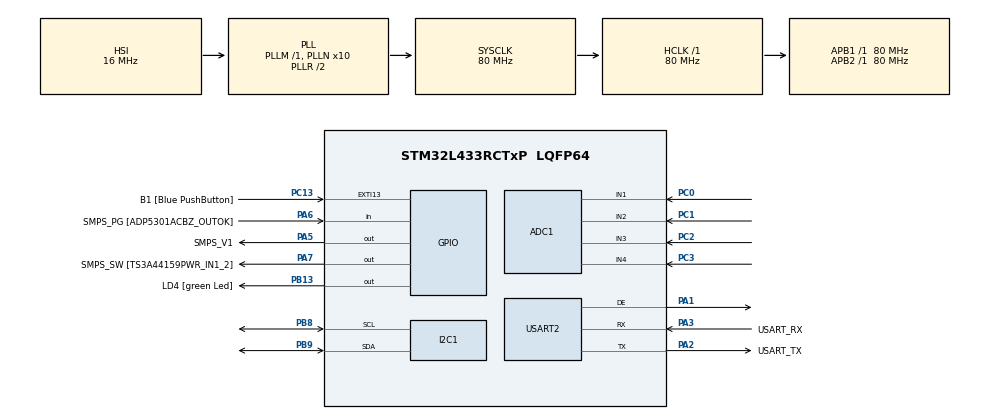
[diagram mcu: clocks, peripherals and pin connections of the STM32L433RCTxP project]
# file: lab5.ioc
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ADC1.Channel-4\#ChannelRegularConversion=ADC_CHANNEL_1
ADC1.Channel-7\#ChannelRegularConversion=ADC_CHANNEL_2
ADC1.Channel-8\#ChannelRegularConversion=ADC_CHANNEL_3
ADC1.Channel-9\#ChannelRegularConversion=ADC_CHANNEL_4
ADC1.ClockPrescaler=ADC_CLOCK_ASYNC_DIV4
ADC1.ContinuousConvMode=ENABLE
ADC1.EOCSelection=ADC_EOC_SINGLE_CONV
ADC1.ExternalTrigConv=ADC_SOFTWARE_START
ADC1.NbrOfConversion=4
ADC1.NbrOfConversionFlag=1
ADC1.OffsetNumber-4\#ChannelRegularConversion=ADC_OFFSET_NONE
ADC1.OffsetNumber-7\#ChannelRegularConversion=ADC_OFFSET_NONE
ADC1.OffsetNumber-8\#ChannelRegularConversion=ADC_OFFSET_NONE
ADC1.OffsetNumber-9\#ChannelRegularConversion=ADC_OFFSET_NONE
ADC1.Rank-4\#ChannelRegularConversion=1
ADC1.Rank-7\#ChannelRegularConversion=2
ADC1.Rank-8\#ChannelRegularConversion=3
ADC1.Rank-9\#ChannelRegularConversion=4
ADC1.SamplingTime-4\#ChannelRegularConversion=ADC_SAMPLETIME_640CYCLES_5
ADC1.SamplingTime-7\#ChannelRegularConversion=ADC_SAMPLETIME_640CYCLES_5
ADC1.SamplingTime-8\#ChannelRegularConversion=ADC_SAMPLETIME_640CYCLES_5
ADC1.SamplingTime-9\#ChannelRegularConversion=ADC_SAMPLETIME_640CYCLES_5
ADC1.master=1
I2C1.Timing=0x10D19CE4
Mcu.Family=STM32L4
Mcu.Name=STM32L433RCTxP
Mcu.Package=LQFP64
NVIC.ADC1_IRQn=true\:0\:0\:false\:false\:true\:true\:true\:true
NVIC.PriorityGroup=NVIC_PRIORITYGROUP_4
PA0.Signal=USART2_CTS
PA1.Mode=Hardware Flow Control (RS485)
PA1.Signal=USART2_DE
PA13\ (JTMS-SWDIO).GPIO_Label=TMS
PA13\ (JTMS-SWDIO).Mode=Serial_Wire
PA13\ (JTMS-SWDIO).Signal=SYS_JTMS-SWDIO
PA14\ (JTCK-SWCLK).GPIO_Label=TCK
PA14\ (JTCK-SWCLK).Mode=Serial_Wire
PA14\ (JTCK-SWCLK).Signal=SYS_JTCK-SWCLK
PA2.GPIO_Label=USART_TX
PA2.GPIO_Mode=GPIO_MODE_AF_PP
PA2.GPIO_PuPd=GPIO_NOPULL
PA2.GPIO_Speed=GPIO_SPEED_FREQ_VERY_HIGH
PA2.Mode=Asynchronous
PA2.Signal=USART2_TX
PA3.GPIO_Label=USART_RX
PA3.GPIO_Mode=GPIO_MODE_AF_PP
PA3.GPIO_PuPd=GPIO_NOPULL
PA3.GPIO_Speed=GPIO_SPEED_FREQ_VERY_HIGH
PA3.Mode=Asynchronous
PA3.Signal=USART2_RX
PA4.Signal=USART2_CK
PA5.GPIO_Label=SMPS_V1
PA5.GPIO_ModeDefaultOutputPP=GPIO_MODE_OUTPUT_PP
PA5.GPIO_PuPd=GPIO_NOPULL
PA5.GPIO_Speed=GPIO_SPEED_FREQ_LOW
PA5.Signal=GPIO_Output
PA6.GPIO_Label=SMPS_PG [ADP5301ACBZ_OUTOK]
PA6.GPIO_PuPd=GPIO_PULLUP
PA6.Signal=GPIO_Input
PA7.GPIO_Label=SMPS_SW [TS3A44159PWR_IN1_2]
PA7.Signal=GPIO_Output
PB13.GPIO_Label=LD4 [green Led]
PB13.Signal=GPIO_Output
PB3\ (JTDO-TRACESWO).GPIO_Label=SWO
PB3\ (JTDO-TRACESWO).Signal=SYS_JTDO-SWO
PB8.Mode=I2C
PB8.Signal=I2C1_SCL
PB9.Mode=I2C
PB9.Signal=I2C1_SDA
PC0.Signal=SharedAnalog_PC0
PC1.Signal=SharedAnalog_PC1
PC13.GPIO_Label=B1 [Blue PushButton]
PC13.GPIO_ModeDefaultEXTI=GPIO_MODE_IT_FALLING
PC13.GPIO_PuPd=GPIO_NOPULL
PC13.Signal=GPXTI13
PC14-OSC32_IN\ (PC14).Mode=LSE-External-Oscillator
PC14-OSC32_IN\ (PC14).Signal=RCC_OSC32_IN
PC15-OSC32_OUT\ (PC15).Mode=LSE-External-Oscillator
PC15-OSC32_OUT\ (PC15).Signal=RCC_OSC32_OUT
PC2.Signal=SharedAnalog_PC2
PC3.Signal=SharedAnalog_PC3
PH0-OSC_IN\ (PH0).GPIO_Label=MCO
PH0-OSC_IN\ (PH0).Mode=HSE-External-Clock-Source
PH0-OSC_IN\ (PH0).Signal=RCC_OSC_IN
PH1-OSC_OUT\ (PH1).Signal=RCC_OSC_OUT
ProjectManager.HeapSize=0x200
ProjectManager.StackSize=0x400
ProjectManager.TargetToolchain=STM32CubeIDE
RCC.ADCFreq_Value=64000000
RCC.AHBFreq_Value=80000000
RCC.APB1Freq_Value=80000000
RCC.APB1TimFreq_Value=80000000
RCC.APB2Freq_Value=80000000
RCC.APB2TimFreq_Value=80000000
RCC.CortexFreq_Value=80000000
RCC.HCLKFreq_Value=80000000
RCC.HSE_VALUE=8000000
RCC.HSI48_VALUE=48000000
RCC.HSI_VALUE=16000000
RCC.MSI_VALUE=4000000
RCC.PLLN=10
RCC.PLLSourceVirtual=RCC_PLLSOURCE_HSI
RCC.PREFETCH_ENABLE=1
RCC.SYSCLKFreq_VALUE=80000000
RCC.SYSCLKSource=RCC_SYSCLKSOURCE_PLLCLK
RCC.USBFreq_Value=64000000
RCC.VCOOutputFreq_Value=160000000
SH.SharedAnalog_PC0.0=GPIO_Analog
SH.SharedAnalog_PC0.1=ADC1_IN1,IN1-Single-Ended
SH.SharedAnalog_PC1.0=GPIO_Analog
SH.SharedAnalog_PC1.1=ADC1_IN2,IN2-Single-Ended
SH.SharedAnalog_PC2.0=GPIO_Analog
SH.SharedAnalog_PC2.1=ADC1_IN3,IN3-Single-Ended
SH.SharedAnalog_PC3.0=GPIO_Analog
SH.SharedAnalog_PC3.1=ADC1_IN4,IN4-Single-Ended
TIM2.Prescaler=79
USART2.VirtualMode-Asynchronous=VM_ASYNC
USART2.VirtualMode-Hardware\ Flow\ Control\ (RS485)=VM_ASYNC
VP_TIM2_VS_ClockSourceINT.Mode=Internal
board=NUCLEO-L433RC-P

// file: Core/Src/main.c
/* USER CODE BEGIN Header */
/**
  ******************************************************************************
  * @file           : main.c
  * @brief          : Main program body
  ******************************************************************************
  * @attention
  *
  * Copyright (c) 2025 STMicroelectronics.
  * All rights reserved.
  *
  * This software is licensed under terms that can be found in the LICENSE file
  * in the root directory of this software component.
  * If no LICENSE file comes with this software, it is provided AS-IS.
  *
  ******************************************************************************
  */
/* USER CODE END Header */
#include "main.h"

/* USER CODE BEGIN Includes */
#include "lcd.h"
#include <string.h>
#include <stdio.h>
#include <stdlib.h>
/* USER CODE END Includes */

/* USER CODE BEGIN PTD */
#define JOY_X_IX 0
#define JOY_Y_IX 1
#define LM35_IX 2
/* USER CODE END PTD */

ADC_HandleTypeDef hadc1;

I2C_HandleTypeDef hi2c1;

TIM_HandleTypeDef htim2;

UART_HandleTypeDef huart2;

void SystemClock_Config(void);
static void MX_GPIO_Init(void);
static void MX_USART2_UART_Init(void);
static void MX_ADC1_Init(void);
static void MX_I2C1_Init(void);
static void MX_TIM2_Init(void);

/* USER CODE BEGIN 0 */

#define ADC_BUF_SIZE 4
uint16_t adc_buffert[ADC_BUF_SIZE];
int adc_buf_ix = 0;
int adc_ready = 0;

void uart_print(const char* str){
  HAL_UART_Transmit(&huart2, (uint8_t *) str, strlen(str), 255);
}
#if 1
void HAL_ADC_ConvCpltCallback(ADC_HandleTypeDef *hadc)
{
#if 1
    if (hadc->Instance == ADC1 && hadc1.Instance->ISR & ADC_FLAG_RDY)
    {

        uint32_t value = HAL_ADC_GetValue(hadc);
#if 1
        adc_buffert[adc_buf_ix] = value;
    	adc_buf_ix++;

        if (adc_buf_ix >= ADC_BUF_SIZE){
        	adc_ready = 1;
        	adc_buf_ix = 0;
        }
#endif

    }
#endif
}

#endif

float normalize_12bit(uint16_t x);
float normalize_12bit_posneg(uint16_t x);

float normalize_12bit_posneg(uint16_t x){
  float input = x;
  return (2*(input))/(4095.0f)-1;
}

float normalize_12bit(uint16_t x){
  float input = x;
  return input/4095.0f;
}

uint16_t read_one_adc_value(ADC_HandleTypeDef *hadc){
	HAL_ADC_Start(hadc);
	HAL_ADC_PollForConversion(hadc,100);
	uint32_t reading = HAL_ADC_GetValue(hadc);
	return (uint16_t) reading;
}

/* USER CODE END 0 */

int main(void)
{

  /* MCU Configuration--------------------------------------------------------*/

  /* Reset of all peripherals, Initializes the Flash interface and the Systick. */
  HAL_Init();

  /* Configure the system clock */
  SystemClock_Config();

  /* Initialize all configured peripherals */
  MX_GPIO_Init();
  MX_USART2_UART_Init();
  MX_ADC1_Init();
  MX_I2C1_Init();
  MX_TIM2_Init();
  /* USER CODE BEGIN 2 */
  //uart_print("Hello world1\n\r");

  TextLCDType hlcd;

  HAL_GPIO_WritePin(GPIOx, GPIO_Pin, PinState)

  TextLCD_Init(&hlcd, &hi2c1, 0x4e);
  HAL_ADC_Start_IT(&hadc1);
  adc_buffert[0]=0;
  adc_buffert[1]=0;
  adc_buffert[2]=0;

  uart_print("Hello world2\n\r");
  /* USER CODE END 2 */

  /* Infinite loop */
  /* USER CODE BEGIN WHILE */
  while (1)
  {

    if (adc_ready) {
    	//TextLCD_Clear(&hlcd);
    	char str[32];
    	sprintf(str, "%0.2fx ", normalize_12bit_posneg(adc_buffert[JOY_X_IX]));
    	TextLCD_Position(&hlcd, 0, 0);
    	TextLCD_PutStr(&hlcd, str);

    	memset(str,'\0',sizeof(char)*32);
    	sprintf(str, "%0.2fy ", normalize_12bit(adc_buffert[JOY_Y_IX]));
    	TextLCD_Position(&hlcd, 0, 1);
    	TextLCD_PutStr(&hlcd, str);

    	memset(str,'\0',sizeof(char)*32);
    	sprintf(str, "%uC ", (adc_buffert[LM35_IX]));
    	TextLCD_Position(&hlcd, 8, 0);
    	//TextLCD_PutStr(&hlcd, str);

    	memset(str,'\0',sizeof(char)*32);
    	sprintf(str, "%0.2fL ", normalize_12bit(adc_buffert[3]));
    	TextLCD_Position(&hlcd, 11, 1);
    	TextLCD_PutStr(&hlcd, str);

        adc_ready = 0;
    }
    /* USER CODE END WHILE */

  }
}

void SystemClock_Config(void)
{
  RCC_OscInitTypeDef RCC_OscInitStruct = {0};
  RCC_ClkInitTypeDef RCC_ClkInitStruct = {0};

  /** Configure the main internal regulator output voltage
  */
  if (HAL_PWREx_ControlVoltageScaling(PWR_REGULATOR_VOLTAGE_SCALE1) != HAL_OK)
  {
    Error_Handler();
  }

  /** Initializes the RCC Oscillators according to the specified parameters
  * in the RCC_OscInitTypeDef structure.
  */
  RCC_OscInitStruct.OscillatorType = RCC_OSCILLATORTYPE_HSI;
  RCC_OscInitStruct.HSIState = RCC_HSI_ON;
  RCC_OscInitStruct.HSICalibrationValue = RCC_HSICALIBRATION_DEFAULT;
  RCC_OscInitStruct.PLL.PLLState = RCC_PLL_ON;
  RCC_OscInitStruct.PLL.PLLSource = RCC_PLLSOURCE_HSI;
  RCC_OscInitStruct.PLL.PLLM = 1;
  RCC_OscInitStruct.PLL.PLLN = 10;
  RCC_OscInitStruct.PLL.PLLP = RCC_PLLP_DIV7;
  RCC_OscInitStruct.PLL.PLLQ = RCC_PLLQ_DIV2;
  RCC_OscInitStruct.PLL.PLLR = RCC_PLLR_DIV2;
  if (HAL_RCC_OscConfig(&RCC_OscInitStruct) != HAL_OK)
  {
    Error_Handler();
  }

  /** Initializes the CPU, AHB and APB buses clocks
  */
  RCC_ClkInitStruct.ClockType = RCC_CLOCKTYPE_HCLK|RCC_CLOCKTYPE_SYSCLK
                              |RCC_CLOCKTYPE_PCLK1|RCC_CLOCKTYPE_PCLK2;
  RCC_ClkInitStruct.SYSCLKSource = RCC_SYSCLKSOURCE_PLLCLK;
  RCC_ClkInitStruct.AHBCLKDivider = RCC_SYSCLK_DIV1;
  RCC_ClkInitStruct.APB1CLKDivider = RCC_HCLK_DIV1;
  RCC_ClkInitStruct.APB2CLKDivider = RCC_HCLK_DIV1;

  if (HAL_RCC_ClockConfig(&RCC_ClkInitStruct, FLASH_LATENCY_4) != HAL_OK)
  {
    Error_Handler();
  }
}

static void MX_ADC1_Init(void)
{

  ADC_ChannelConfTypeDef sConfig = {0};

  /** Common config
  */
  hadc1.Instance = ADC1;
  hadc1.Init.ClockPrescaler = ADC_CLOCK_ASYNC_DIV4;
  hadc1.Init.Resolution = ADC_RESOLUTION_12B;
  hadc1.Init.DataAlign = ADC_DATAALIGN_RIGHT;
  hadc1.Init.ScanConvMode = ADC_SCAN_ENABLE;
  hadc1.Init.EOCSelection = ADC_EOC_SINGLE_CONV;
  hadc1.Init.LowPowerAutoWait = DISABLE;
  hadc1.Init.ContinuousConvMode = ENABLE;
  hadc1.Init.NbrOfConversion = 4;
  hadc1.Init.DiscontinuousConvMode = DISABLE;
  hadc1.Init.ExternalTrigConv = ADC_SOFTWARE_START;
  hadc1.Init.ExternalTrigConvEdge = ADC_EXTERNALTRIGCONVEDGE_NONE;
  hadc1.Init.DMAContinuousRequests = DISABLE;
  hadc1.Init.Overrun = ADC_OVR_DATA_PRESERVED;
  hadc1.Init.OversamplingMode = DISABLE;
  if (HAL_ADC_Init(&hadc1) != HAL_OK)
  {
    Error_Handler();
  }

  /** Configure Regular Channel
  */
  sConfig.Channel = ADC_CHANNEL_1;
  sConfig.Rank = ADC_REGULAR_RANK_1;
  sConfig.SamplingTime = ADC_SAMPLETIME_640CYCLES_5;
  sConfig.SingleDiff = ADC_SINGLE_ENDED;
  sConfig.OffsetNumber = ADC_OFFSET_NONE;
  sConfig.Offset = 0;
  if (HAL_ADC_ConfigChannel(&hadc1, &sConfig) != HAL_OK)
  {
    Error_Handler();
  }

  /** Configure Regular Channel
  */
  sConfig.Channel = ADC_CHANNEL_2;
  sConfig.Rank = ADC_REGULAR_RANK_2;
  if (HAL_ADC_ConfigChannel(&hadc1, &sConfig) != HAL_OK)
  {
    Error_Handler();
  }

  /** Configure Regular Channel
  */
  sConfig.Channel = ADC_CHANNEL_3;
  sConfig.Rank = ADC_REGULAR_RANK_3;
  if (HAL_ADC_ConfigChannel(&hadc1, &sConfig) != HAL_OK)
  {
    Error_Handler();
  }

  /** Configure Regular Channel
  */
  sConfig.Channel = ADC_CHANNEL_4;
  sConfig.Rank = ADC_REGULAR_RANK_4;
  if (HAL_ADC_ConfigChannel(&hadc1, &sConfig) != HAL_OK)
  {
    Error_Handler();
  }

}

static void MX_I2C1_Init(void)
{

  hi2c1.Instance = I2C1;
  hi2c1.Init.Timing = 0x10D19CE4;
  hi2c1.Init.OwnAddress1 = 0;
  hi2c1.Init.AddressingMode = I2C_ADDRESSINGMODE_7BIT;
  hi2c1.Init.DualAddressMode = I2C_DUALADDRESS_DISABLE;
  hi2c1.Init.OwnAddress2 = 0;
  hi2c1.Init.OwnAddress2Masks = I2C_OA2_NOMASK;
  hi2c1.Init.GeneralCallMode = I2C_GENERALCALL_DISABLE;
  hi2c1.Init.NoStretchMode = I2C_NOSTRETCH_DISABLE;
  if (HAL_I2C_Init(&hi2c1) != HAL_OK)
  {
    Error_Handler();
  }

  /** Configure Analogue filter
  */
  if (HAL_I2CEx_ConfigAnalogFilter(&hi2c1, I2C_ANALOGFILTER_ENABLE) != HAL_OK)
  {
    Error_Handler();
  }

  /** Configure Digital filter
  */
  if (HAL_I2CEx_ConfigDigitalFilter(&hi2c1, 0) != HAL_OK)
  {
    Error_Handler();
  }

}

static void MX_TIM2_Init(void)
{

  TIM_ClockConfigTypeDef sClockSourceConfig = {0};
  TIM_MasterConfigTypeDef sMasterConfig = {0};

  htim2.Instance = TIM2;
  htim2.Init.Prescaler = 79;
  htim2.Init.CounterMode = TIM_COUNTERMODE_UP;
  htim2.Init.Period = 4294967295;
  htim2.Init.ClockDivision = TIM_CLOCKDIVISION_DIV1;
  htim2.Init.AutoReloadPreload = TIM_AUTORELOAD_PRELOAD_DISABLE;
  if (HAL_TIM_Base_Init(&htim2) != HAL_OK)
  {
    Error_Handler();
  }
  sClockSourceConfig.ClockSource = TIM_CLOCKSOURCE_INTERNAL;
  if (HAL_TIM_ConfigClockSource(&htim2, &sClockSourceConfig) != HAL_OK)
  {
    Error_Handler();
  }
  sMasterConfig.MasterOutputTrigger = TIM_TRGO_RESET;
  sMasterConfig.MasterSlaveMode = TIM_MASTERSLAVEMODE_DISABLE;
  if (HAL_TIMEx_MasterConfigSynchronization(&htim2, &sMasterConfig) != HAL_OK)
  {
    Error_Handler();
  }

}

static void MX_USART2_UART_Init(void)
{

  huart2.Instance = USART2;
  huart2.Init.BaudRate = 115200;
  huart2.Init.WordLength = UART_WORDLENGTH_8B;
  huart2.Init.StopBits = UART_STOPBITS_1;
  huart2.Init.Parity = UART_PARITY_NONE;
  huart2.Init.Mode = UART_MODE_TX_RX;
  huart2.Init.HwFlowCtl = UART_HWCONTROL_NONE;
  huart2.Init.OverSampling = UART_OVERSAMPLING_16;
  huart2.Init.OneBitSampling = UART_ONE_BIT_SAMPLE_DISABLE;
  huart2.AdvancedInit.AdvFeatureInit = UART_ADVFEATURE_NO_INIT;
  if (HAL_RS485Ex_Init(&huart2, UART_DE_POLARITY_HIGH, 0, 0) != HAL_OK)
  {
    Error_Handler();
  }

}

static void MX_GPIO_Init(void)
{
  GPIO_InitTypeDef GPIO_InitStruct = {0};

  /* GPIO Ports Clock Enable */
  __HAL_RCC_GPIOC_CLK_ENABLE();
  __HAL_RCC_GPIOH_CLK_ENABLE();
  __HAL_RCC_GPIOA_CLK_ENABLE();
  __HAL_RCC_GPIOB_CLK_ENABLE();

  /*Configure GPIO pin Output Level */
  HAL_GPIO_WritePin(GPIOA, SMPS_V1_Pin|SMPS_SW_Pin, GPIO_PIN_RESET);

  /*Configure GPIO pin Output Level */
  HAL_GPIO_WritePin(LD4_GPIO_Port, LD4_Pin, GPIO_PIN_RESET);

  /*Configure GPIO pin : B1_Pin */
  GPIO_InitStruct.Pin = B1_Pin;
  GPIO_InitStruct.Mode = GPIO_MODE_IT_FALLING;
  GPIO_InitStruct.Pull = GPIO_NOPULL;
  HAL_GPIO_Init(B1_GPIO_Port, &GPIO_InitStruct);

  /*Configure GPIO pins : SMPS_V1_Pin SMPS_SW_Pin */
  GPIO_InitStruct.Pin = SMPS_V1_Pin|SMPS_SW_Pin;
  GPIO_InitStruct.Mode = GPIO_MODE_OUTPUT_PP;
  GPIO_InitStruct.Pull = GPIO_NOPULL;
  GPIO_InitStruct.Speed = GPIO_SPEED_FREQ_LOW;
  HAL_GPIO_Init(GPIOA, &GPIO_InitStruct);

  /*Configure GPIO pin : SMPS_PG_Pin */
  GPIO_InitStruct.Pin = SMPS_PG_Pin;
  GPIO_InitStruct.Mode = GPIO_MODE_INPUT;
  GPIO_InitStruct.Pull = GPIO_PULLUP;
  HAL_GPIO_Init(SMPS_PG_GPIO_Port, &GPIO_InitStruct);

  /*Configure GPIO pin : LD4_Pin */
  GPIO_InitStruct.Pin = LD4_Pin;
  GPIO_InitStruct.Mode = GPIO_MODE_OUTPUT_PP;
  GPIO_InitStruct.Pull = GPIO_NOPULL;
  GPIO_InitStruct.Speed = GPIO_SPEED_FREQ_LOW;
  HAL_GPIO_Init(LD4_GPIO_Port, &GPIO_InitStruct);

}

void Error_Handler(void)
{
  /* USER CODE BEGIN Error_Handler_Debug */
	uart_print("ERROR");
  /* User can add his own implementation to report the HAL error return state */
  __disable_irq();
  while (1)
  {
  }
  /* USER CODE END Error_Handler_Debug */
}
